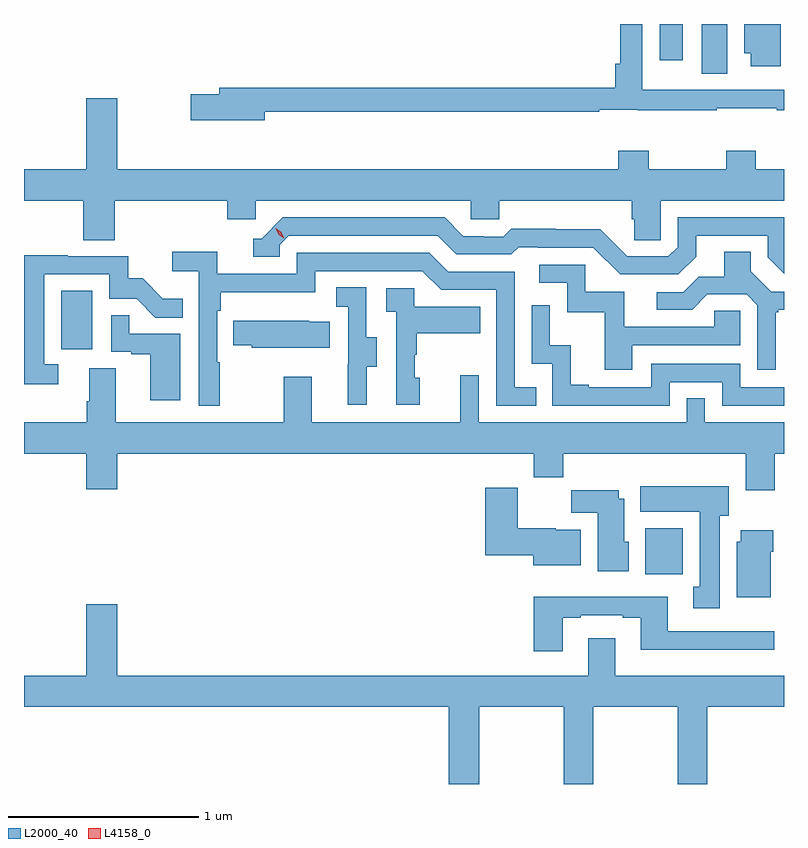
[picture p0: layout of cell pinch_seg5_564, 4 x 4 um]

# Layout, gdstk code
import gdstk
lib = gdstk.Library(unit=1e-6, precision=1e-09)
def R(c, l, rs):  # rectangles x0, y0, x1, y1
    for r in rs: c.add(gdstk.rectangle(r[:2], r[2:], *l))
def P(c, l, *ps):  # polygons
    for p in ps: c.add(gdstk.Polygon(p, *l))
L2000_40 = (2000, 40)
L4158_0 = (4158, 0)

pinch_seg5_564 = lib.new_cell('pinch_seg5_564')
R(pinch_seg5_564, L2000_40, [(1144.973,869.444,1145.17,869.686), (1141.898,870.63,1142.062,870.937), (1145.27,872.08,1145.404,872.341), (1145.048,872.151,1145.17,872.341)])
P(pinch_seg5_564, L2000_40, [(1145.686,872.341),(1145.492,872.341),(1145.492,872.186),(1145.528,872.186),(1145.528,872.118),(1145.686,872.118)],
  [(1142.968,871.878),(1144.73,871.878),(1144.73,871.889),(1144.932,871.889),(1144.932,871.887),(1145.348,871.887),(1145.348,871.897),(1145.663,871.897),(1145.663,871.887),(1145.702,871.887),(1145.702,871.995),(1145.166,871.995),(1145.166,871.996),(1144.956,871.996),(1144.956,872.341),(1144.84,872.341),(1144.84,872.131),(1144.814,872.131),(1144.814,872.006),(1142.729,872.006),(1142.729,871.97),(1142.58,871.97),(1142.58,871.835),(1142.968,871.835)],
  [(1142.18,871.412),(1142.771,871.412),(1142.771,871.314),(1142.922,871.314),(1142.922,871.412),(1144.053,871.412),(1144.053,871.314),(1144.203,871.314),(1144.203,871.412),(1144.901,871.412),(1144.901,871.314),(1144.915,871.314),(1144.915,871.204),(1145.052,871.204),(1145.052,871.412),(1145.702,871.412),(1145.702,871.576),(1145.553,871.576),(1145.553,871.675),(1145.398,871.675),(1145.398,871.576),(1144.989,871.576),(1144.989,871.675),(1144.829,871.675),(1144.829,871.576),(1142.194,871.576),(1142.194,871.951),(1142.03,871.951),(1142.03,871.576),(1141.702,871.576),(1141.702,871.412),(1142.015,871.412),(1142.015,871.204),(1142.18,871.204)],
  [(1145.239,871.117),(1145.239,871.227),(1145.616,871.227),(1145.616,871.113),(1145.702,871.027),(1145.702,871.323),(1145.142,871.323),(1145.142,871.167),(1145.094,871.119),(1144.878,871.119),(1144.736,871.261),(1144.5,871.261),(1144.5,871.264),(1144.267,871.264),(1144.225,871.221),(1144.122,871.221),(1144.122,871.224),(1144.015,871.224),(1143.916,871.323),(1143.063,871.323),(1142.952,871.212),(1142.909,871.212),(1142.909,871.116),(1143.048,871.116),(1143.048,871.179),(1143.096,871.227),(1143.879,871.227),(1143.978,871.128),(1144.267,871.128),(1144.306,871.167),(1144.405,871.167),(1144.405,871.164),(1144.698,871.164),(1144.839,871.023),(1145.145,871.023)],
  [(1145.659,870.825),(1145.671,870.825),(1145.671,870.836),(1145.702,870.836),(1145.702,870.933),(1145.634,870.933),(1145.527,871.04),(1145.527,871.142),(1145.387,871.142),(1145.387,871.01),(1145.252,871.01),(1145.172,870.93),(1145.031,870.93),(1145.031,870.837),(1145.218,870.837),(1145.299,870.918),(1145.505,870.918),(1145.562,870.861),(1145.562,870.522),(1145.659,870.522)],
  [(1142.731,870.56),(1142.718,870.56),(1142.718,870.833),(1142.738,870.833),(1142.738,870.929),(1143.234,870.929),(1143.234,871.041),(1143.798,871.041),(1143.897,870.942),(1144.188,870.942),(1144.188,870.333),(1144.397,870.333),(1144.397,870.429),(1144.284,870.429),(1144.284,871.038),(1143.934,871.038),(1143.835,871.137),(1143.138,871.137),(1143.138,871.026),(1142.72,871.026),(1142.72,871.142),(1142.481,871.142),(1142.481,871.04),(1142.622,871.04),(1142.622,870.333),(1142.731,870.333)],
  [(1141.882,870.549),(1141.809,870.549),(1141.809,871.023),(1142.151,871.023),(1142.151,870.894),(1142.295,870.894),(1142.393,870.796),(1142.537,870.796),(1142.537,870.895),(1142.433,870.895),(1142.326,871.002),(1142.25,871.002),(1142.25,871.119),(1141.931,871.119),(1141.931,871.124),(1141.702,871.124),(1141.702,870.444),(1141.882,870.444)],
  [(1144.903,870.651),(1145.472,870.651),(1145.472,870.831),(1145.335,870.831),(1145.335,870.747),(1144.861,870.747),(1144.861,870.933),(1144.656,870.933),(1144.656,871.074),(1144.413,871.074),(1144.413,870.978),(1144.56,870.978),(1144.56,870.825),(1144.759,870.825),(1144.759,870.522),(1144.903,870.522)],
  [(1143.505,870.538),(1143.559,870.538),(1143.559,870.693),(1143.504,870.693),(1143.504,870.956),(1143.345,870.956),(1143.345,870.853),(1143.408,870.853),(1143.408,870.549),(1143.407,870.549),(1143.407,870.336),(1143.505,870.336)],
  [(1143.784,870.48),(1143.759,870.48),(1143.759,870.599),(1143.769,870.599),(1143.769,870.713),(1144.103,870.713),(1144.103,870.853),(1143.756,870.853),(1143.756,870.951),(1143.609,870.951),(1143.609,870.827),(1143.66,870.827),(1143.66,870.336),(1143.784,870.336)],
  [(1145.1,870.456),(1145.376,870.456),(1145.376,870.333),(1145.702,870.333),(1145.702,870.429),(1145.472,870.429),(1145.472,870.552),(1145.004,870.552),(1145.004,870.429),(1144.675,870.429),(1144.675,870.442),(1144.58,870.442),(1144.58,870.65),(1144.47,870.65),(1144.47,870.862),(1144.374,870.862),(1144.374,870.552),(1144.482,870.552),(1144.482,870.333),(1145.1,870.333)],
  [(1142.524,870.711),(1142.255,870.711),(1142.255,870.809),(1142.16,870.809),(1142.16,870.615),(1142.267,870.615),(1142.267,870.603),(1142.366,870.603),(1142.366,870.36),(1142.524,870.36)],
  [(1143.311,870.775),(1143.203,870.775),(1143.203,870.778),(1142.803,870.778),(1142.803,870.649),(1142.901,870.649),(1142.901,870.638),(1143.311,870.638)],
  [(1145.654,870.08),(1145.702,870.08),(1145.702,870.244),(1145.286,870.244),(1145.286,870.371),(1145.19,870.371),(1145.19,870.244),(1144.095,870.244),(1144.095,870.493),(1143.998,870.493),(1143.998,870.244),(1143.217,870.244),(1143.217,870.484),(1143.07,870.484),(1143.07,870.244),(1142.185,870.244),(1142.185,870.53),(1142.045,870.53),(1142.045,870.356),(1142.033,870.356),(1142.033,870.244),(1141.702,870.244),(1141.702,870.08),(1142.03,870.08),(1142.03,869.892),(1142.194,869.892),(1142.194,870.08),(1144.385,870.08),(1144.385,869.956),(1144.541,869.956),(1144.541,870.08),(1145.501,870.08),(1145.501,869.886),(1145.654,869.886)],
  [(1145.365,869.754),(1145.41,869.754),(1145.41,869.908),(1144.946,869.908),(1144.946,869.774),(1145.258,869.774),(1145.258,869.378),(1145.225,869.378),(1145.225,869.265),(1145.365,869.265)],
  [(1144.633,869.68),(1144.5,869.68),(1144.5,869.686),(1144.3,869.686),(1144.3,869.899),(1144.13,869.899),(1144.13,869.546),(1144.382,869.546),(1144.382,869.492),(1144.633,869.492)],
  [(1144.885,869.616),(1144.861,869.616),(1144.861,869.842),(1144.831,869.842),(1144.831,869.887),(1144.582,869.887),(1144.582,869.768),(1144.721,869.768),(1144.721,869.462),(1144.885,869.462)],
  [(1145.632,869.564),(1145.645,869.564),(1145.645,869.677),(1145.474,869.677),(1145.474,869.616),(1145.453,869.616),(1145.453,869.324),(1145.632,869.324)],
  [(1144.537,869.217),(1144.633,869.217),(1144.633,869.229),(1144.853,869.229),(1144.853,869.217),(1144.949,869.217),(1144.949,869.048),(1145.65,869.048),(1145.65,869.145),(1145.089,869.145),(1145.089,869.326),(1144.385,869.326),(1144.385,869.04),(1144.537,869.04)],
  [(1144.098,868.748),(1144.543,868.748),(1144.543,868.341),(1144.698,868.341),(1144.698,868.748),(1145.143,868.748),(1145.143,868.341),(1145.298,868.341),(1145.298,868.748),(1145.702,868.748),(1145.702,868.912),(1144.813,868.912),(1144.813,869.107),(1144.673,869.107),(1144.673,868.912),(1142.194,868.912),(1142.194,869.287),(1142.03,869.287),(1142.03,868.912),(1141.702,868.912),(1141.702,868.748),(1143.938,868.748),(1143.938,868.341),(1144.098,868.341)])
P(pinch_seg5_564, L4158_0, [(1143.072,871.213),(1143.042,871.233),(1143.026,871.267),(1143.026,871.267),(1143.027,871.267),(1143.057,871.246),(1143.072,871.213),(1143.072,871.213)])

lib.write_gds('pinch_seg5_564.gds')
